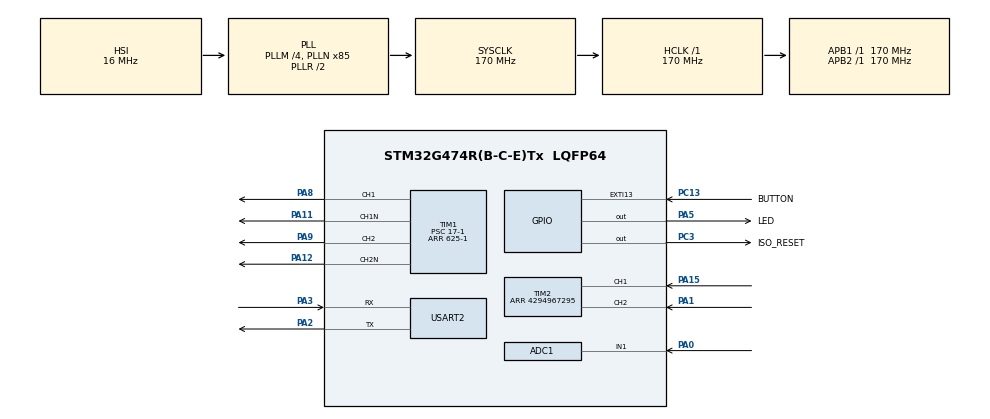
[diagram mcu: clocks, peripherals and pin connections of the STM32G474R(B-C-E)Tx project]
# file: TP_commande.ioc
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ADC1.Channel-0\#ChannelRegularConversion=ADC_CHANNEL_1
ADC1.DMAContinuousRequests=ENABLE
ADC1.ExternalTrigConv=ADC_EXTERNALTRIG_T1_TRGO
ADC1.NbrOfConversion=1
ADC1.NbrOfConversionFlag=1
ADC1.OffsetNumber-0\#ChannelRegularConversion=ADC_OFFSET_NONE
ADC1.Rank-0\#ChannelRegularConversion=1
ADC1.SamplingTime-0\#ChannelRegularConversion=ADC_SAMPLETIME_92CYCLES_5
ADC1.master=1
Dma.ADC1.0.Direction=DMA_PERIPH_TO_MEMORY
Dma.ADC1.0.EventEnable=DISABLE
Dma.ADC1.0.Instance=DMA1_Channel1
Dma.ADC1.0.MemDataAlignment=DMA_MDATAALIGN_HALFWORD
Dma.ADC1.0.MemInc=DMA_MINC_ENABLE
Dma.ADC1.0.Mode=DMA_CIRCULAR
Dma.ADC1.0.PeriphDataAlignment=DMA_PDATAALIGN_HALFWORD
Dma.ADC1.0.PeriphInc=DMA_PINC_DISABLE
Dma.ADC1.0.Polarity=HAL_DMAMUX_REQ_GEN_RISING
Dma.ADC1.0.Priority=DMA_PRIORITY_LOW
Dma.ADC1.0.RequestNumber=1
Dma.ADC1.0.SignalID=NONE
Dma.ADC1.0.SyncEnable=DISABLE
Dma.ADC1.0.SyncPolarity=HAL_DMAMUX_SYNC_NO_EVENT
Dma.ADC1.0.SyncRequestNumber=1
Dma.ADC1.0.SyncSignalID=NONE
Dma.Request0=ADC1
Mcu.Family=STM32G4
Mcu.Name=STM32G474R(B-C-E)Tx
Mcu.Package=LQFP64
NVIC.DMA1_Channel1_IRQn=true\:0\:0\:false\:false\:true\:false\:true\:true
NVIC.EXTI15_10_IRQn=true\:0\:0\:false\:false\:true\:true\:true\:true
NVIC.PriorityGroup=NVIC_PRIORITYGROUP_4
NVIC.TIM1_UP_TIM16_IRQn=true\:0\:0\:false\:false\:true\:true\:true\:true
NVIC.USART2_IRQn=true\:0\:0\:false\:false\:true\:true\:true\:true
PA0.Mode=IN1-Single-Ended
PA0.Signal=ADC1_IN1
PA1.Signal=S_TIM2_CH2
PA11.Mode=PWM Generation1 CH1 CH1N
PA11.Signal=TIM1_CH1N
PA12.Mode=PWM Generation2 CH2 CH2N
PA12.Signal=TIM1_CH2N
PA13.GPIO_Label=T_SWDIO
PA13.Mode=Serial_Wire
PA13.Signal=SYS_JTMS-SWDIO
PA14.GPIO_Label=T_SWCLK
PA14.Mode=Serial_Wire
PA14.Signal=SYS_JTCK-SWCLK
PA15.Signal=S_TIM2_CH1
PA2.Mode=Asynchronous
PA2.Signal=USART2_TX
PA3.Mode=Asynchronous
PA3.Signal=USART2_RX
PA5.GPIO_Label=LED
PA5.PinState=GPIO_PIN_RESET
PA5.Signal=GPIO_Output
PA8.Signal=S_TIM1_CH1
PA9.Signal=S_TIM1_CH2
PC13.GPIO_Label=BUTTON
PC13.Signal=GPXTI13
PC14-OSC32_IN.Mode=LSE-External-Oscillator
PC14-OSC32_IN.Signal=RCC_OSC32_IN
PC15-OSC32_OUT.Mode=LSE-External-Oscillator
PC15-OSC32_OUT.Signal=RCC_OSC32_OUT
PC3.GPIO_Label=ISO_RESET
PC3.Signal=GPIO_Output
PF0-OSC_IN.Mode=HSE-External-Oscillator
PF0-OSC_IN.Signal=RCC_OSC_IN
PF1-OSC_OUT.Mode=HSE-External-Oscillator
PF1-OSC_OUT.Signal=RCC_OSC_OUT
ProjectManager.HeapSize=0x200
ProjectManager.StackSize=0x400
ProjectManager.TargetToolchain=STM32CubeIDE
RCC.ADC12Freq_Value=170000000
RCC.ADC345Freq_Value=170000000
RCC.AHBFreq_Value=170000000
RCC.APB1Freq_Value=170000000
RCC.APB1TimFreq_Value=170000000
RCC.APB2Freq_Value=170000000
RCC.APB2TimFreq_Value=170000000
RCC.CortexFreq_Value=170000000
RCC.EXTERNAL_CLOCK_VALUE=12288000
RCC.HCLKFreq_Value=170000000
RCC.HSE_VALUE=24000000
RCC.HSI48_VALUE=48000000
RCC.HSI_VALUE=16000000
RCC.PLLM=RCC_PLLM_DIV4
RCC.PLLN=85
RCC.RTCClockSelection=RCC_RTCCLKSOURCE_LSE
RCC.SYSCLKFreq_VALUE=170000000
RCC.SYSCLKSource=RCC_SYSCLKSOURCE_PLLCLK
RCC.USBFreq_Value=170000000
RCC.VCOOutputFreq_Value=340000000
SH.S_TIM1_CH1.0=TIM1_CH1,PWM Generation1 CH1 CH1N
SH.S_TIM1_CH2.0=TIM1_CH2,PWM Generation2 CH2 CH2N
SH.S_TIM2_CH1.0=TIM2_CH1,Encoder_Interface
SH.S_TIM2_CH2.0=TIM2_CH2,Encoder_Interface
TIM1.AutoReloadPreload=TIM_AUTORELOAD_PRELOAD_ENABLE
TIM1.Channel-PWM\ Generation1\ CH1\ CH1N=TIM_CHANNEL_1
TIM1.Channel-PWM\ Generation2\ CH2\ CH2N=TIM_CHANNEL_2
TIM1.DeadTime=210
TIM1.DeadTimePreload=DISABLE
TIM1.OC2Preload_PWM=ENABLE
TIM1.OCMode_PWM-PWM\ Generation2\ CH2\ CH2N=TIM_OCMODE_PWM1
TIM1.OCNPolarity_2=TIM_OCNPOLARITY_HIGH
TIM1.OCPolarity_2=TIM_OCPOLARITY_HIGH
TIM1.PeriodNoDither=625-1
TIM1.Prescaler=17-1
TIM1.PulseNoDither_1=300
TIM1.PulseNoDither_2=300
TIM1.TIM_MasterOutputTrigger=TIM_TRGO_UPDATE
TIM1.TIM_MasterSlaveMode=TIM_MASTERSLAVEMODE_ENABLE
TIM2.PeriodNoDither=4294967295
USART2.VirtualMode-Asynchronous=VM_ASYNC
VP_SYS_VS_DBSignals.Mode=DisableDeadBatterySignals
VP_TIM1_VS_ClockSourceINT.Mode=Internal
board=NUCLEO-G474RE

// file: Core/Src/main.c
/* USER CODE BEGIN Header */
/**
 ******************************************************************************
 * @file           : main.c
 * @brief          : Main program body
 ******************************************************************************
 * @attention
 *
 * Copyright (c) 2022 STMicroelectronics.
 * All rights reserved.
 *
 * This software is licensed under terms that can be found in the LICENSE file
 * in the root directory of this software component.
 * If no LICENSE file comes with this software, it is provided AS-IS.
 *
 ******************************************************************************
 */
/* USER CODE END Header */
#include "main.h"
#include "adc.h"
#include "dma.h"
#include "tim.h"
#include "usart.h"
#include "gpio.h"

/* USER CODE BEGIN Includes */
#include "stdio.h"
#include "string.h"
#include "stdlib.h"
/* USER CODE END Includes */

/* USER CODE BEGIN PD */
#define UART_TX_BUFFER_SIZE 64
#define UART_RX_BUFFER_SIZE 1
#define CMD_BUFFER_SIZE 64
#define MAX_ARGS 9
// LF = line feed, saut de ligne
#define ASCII_LF 0x0A
// CR = carriage return, retour chariot
#define ASCII_CR 0x0D
// DEL = delete
#define ASCII_DEL 0x7F
#define ENCOD_MOITIE 4294967295/2
/* USER CODE END PD */

/* USER CODE BEGIN PV */
uint8_t prompt[]="user@Nucleo-STM32G431>>";
uint8_t started[]=
		"\r\n*-----------------------------*"
		"\r\n| Welcome on Nucleo-STM32G431 |"
		"\r\n*-----------------------------*"
		"\r\n";
uint8_t newline[]="\r\n";
uint8_t cmdNotFound[]="Command not found\r\n";
uint32_t uartRxReceived;
uint8_t uartRxBuffer[UART_RX_BUFFER_SIZE];
uint8_t uartTxBuffer[UART_TX_BUFFER_SIZE];
int adcDmaFlag;
int affichage;
uint32_t position;
uint16_t adcBuffer[2];
extern int it_Tim1;
extern int it2_Tim1;
float retour_courant;
/* USER CODE END PV */

void SystemClock_Config(void);

int main(void)
{
  /* USER CODE BEGIN 1 */
#define MAX_ARR 626
#define alpha_50 313
	char	 	cmdBuffer[CMD_BUFFER_SIZE];
	int 		idx_cmd;
	char* 		argv[MAX_ARGS];
	int		 	argc = 0;
	char*		token;
	int 		newCmdReady = 0;
	int speed=0;
	int j=0;
  /* USER CODE END 1 */

  /* MCU Configuration--------------------------------------------------------*/

  /* Reset of all peripherals, Initializes the Flash interface and the Systick. */
  HAL_Init();

  /* Configure the system clock */
  SystemClock_Config();

  /* Initialize all configured peripherals */
  MX_GPIO_Init();
  MX_DMA_Init();
  MX_TIM1_Init();
  MX_USART2_UART_Init();
  MX_ADC1_Init();
  MX_TIM2_Init();
  /* USER CODE BEGIN 2 */
	HAL_ADCEx_Calibration_Start(&hadc1, ADC_SINGLE_ENDED);
	HAL_ADC_Start_DMA(&hadc1, adcBuffer, 2);

	HAL_TIM_Base_Start_IT(&htim1);
	HAL_TIM_PWM_Start(&htim1, TIM_CHANNEL_1);
	HAL_TIMEx_PWMN_Start(&htim1, TIM_CHANNEL_1);
	HAL_TIM_PWM_Start(&htim1, TIM_CHANNEL_2);
	HAL_TIMEx_PWMN_Start(&htim1, TIM_CHANNEL_2);
	HAL_TIM_Encoder_Start(&htim2, TIM_CHANNEL_ALL);

	memset(argv,NULL,MAX_ARGS*sizeof(char*));
	memset(cmdBuffer,NULL,CMD_BUFFER_SIZE*sizeof(char));
	memset(uartRxBuffer,NULL,UART_RX_BUFFER_SIZE*sizeof(char));
	memset(uartTxBuffer,NULL,UART_TX_BUFFER_SIZE*sizeof(char));

	HAL_UART_Receive_IT(&huart2, uartRxBuffer, UART_RX_BUFFER_SIZE);
	HAL_Delay(10);
	HAL_UART_Transmit(&huart2, started, sizeof(started), HAL_MAX_DELAY);
	HAL_UART_Transmit(&huart2, prompt, sizeof(prompt), HAL_MAX_DELAY);

  /* USER CODE END 2 */

  /* Infinite loop */
  /* USER CODE BEGIN WHILE */
	while (1)
	{
		/*TIM1->CCR1=alpha_50+i;
	  TIM1->CCR2=MAX_ARR-(alpha_50+i);
	  HAL_Delay(100);
	  i=i+1;*/

		// uartRxReceived is set to 1 when a new character is received on uart 1
		if(uartRxReceived){
			switch(uartRxBuffer[0]){
			// Nouvelle ligne, instruction à traiter
			case ASCII_CR:
				HAL_UART_Transmit(&huart2, newline, sizeof(newline), HAL_MAX_DELAY);
				cmdBuffer[idx_cmd] = '\0';
				argc = 0;
				token = strtok(cmdBuffer, " ");
				while(token!=NULL){
					argv[argc++] = token;
					token = strtok(NULL, " ");
				}

				idx_cmd = 0;
				newCmdReady = 1;
				break;
				// Suppression du dernier caractère
			case ASCII_DEL:
				cmdBuffer[idx_cmd--] = '\0';
				HAL_UART_Transmit(&huart2, uartRxBuffer, UART_RX_BUFFER_SIZE, HAL_MAX_DELAY);
				break;
				// Nouveau caractère
			default:
				cmdBuffer[idx_cmd++] = uartRxBuffer[0];
				HAL_UART_Transmit(&huart2, uartRxBuffer, UART_RX_BUFFER_SIZE, HAL_MAX_DELAY);
			}
			uartRxReceived = 0;
		}

		if(newCmdReady){
			if(strcmp(argv[0],"help")==0){

				sprintf(uartTxBuffer,"pinout\r\nstart\r\nstop\r\n");
				HAL_UART_Transmit(&huart2, uartTxBuffer, strlen(uartTxBuffer), HAL_MAX_DELAY);
			}
			if(strcmp(argv[0],"pinout")==0){

							sprintf(uartTxBuffer,"PC3=ISO_RESET\r\n");
							HAL_UART_Transmit(&huart2, uartTxBuffer, strlen(uartTxBuffer), HAL_MAX_DELAY);
							sprintf(uartTxBuffer,"PA8/PA11=TIM1_CH1/TIM1_CH1N(pwm)\r\n");
							HAL_UART_Transmit(&huart2, uartTxBuffer, strlen(uartTxBuffer), HAL_MAX_DELAY);
							sprintf(uartTxBuffer,"PA9/PA12=TIM1_CH2/TIM1_CH2N(pwm)\r\n");
							HAL_UART_Transmit(&huart2, uartTxBuffer, strlen(uartTxBuffer), HAL_MAX_DELAY);
							sprintf(uartTxBuffer,"PA2/PA3=USART2_TX/USART2_RX\r\n");
							HAL_UART_Transmit(&huart2, uartTxBuffer, strlen(uartTxBuffer), HAL_MAX_DELAY);
							sprintf(uartTxBuffer,"PA0=ADC1_IN1\r\n");
							HAL_UART_Transmit(&huart2, uartTxBuffer, strlen(uartTxBuffer), HAL_MAX_DELAY);
							sprintf(uartTxBuffer,"PA15/PA1=TIM2_CH1/TIM2_CH2(encodeur)\r\n");
							HAL_UART_Transmit(&huart2, uartTxBuffer, strlen(uartTxBuffer), HAL_MAX_DELAY);
						}

			else if(strcmp(argv[0],"start")==0){

				HAL_GPIO_WritePin(ISO_RESET_GPIO_Port, ISO_RESET_Pin, SET);
				HAL_Delay(100);
				HAL_GPIO_WritePin(ISO_RESET_GPIO_Port, ISO_RESET_Pin, RESET);
				sprintf(uartTxBuffer,"ready\r\n");
				HAL_UART_Transmit(&huart2, uartTxBuffer, strlen(uartTxBuffer), HAL_MAX_DELAY);
			}
			else if(strcmp(argv[0],"speed=")==0){
				speed=atoi(argv[1]);
				if (speed<0){speed=0;}
				if (speed>100){speed=100;}

				j=(MAX_ARR*speed)/100;
				TIM1->CCR1=j;
				TIM1->CCR2=(MAX_ARR-j);
				sprintf(uartTxBuffer,"i : %d\r\n",atoi(argv[1]));
				HAL_UART_Transmit(&huart2, uartTxBuffer, strlen(uartTxBuffer), HAL_MAX_DELAY);

			}

			else{
				HAL_UART_Transmit(&huart2, cmdNotFound, sizeof(cmdNotFound), HAL_MAX_DELAY);
			}
			HAL_UART_Transmit(&huart2, prompt, sizeof(prompt), HAL_MAX_DELAY);
			newCmdReady = 0;
		}

		if(adcDmaFlag &&  affichage==1 && it2_Tim1){
			//retour_courant=(((((float)adcBuffer[0])*(3.3/4095))-2.25)*12);
			sprintf(uartTxBuffer,"ADC Value1: %1.2f\r\n",retour_courant);
			HAL_UART_Transmit(&huart2, uartTxBuffer, strlen(uartTxBuffer), HAL_MAX_DELAY);
			adcDmaFlag=0;
			it2_Tim1=0;
		}

		if(it_Tim1 &&  affichage==2){
		position=TIM2->CNT;
		position= position-ENCOD_MOITIE;
		TIM2->CNT=ENCOD_MOITIE;
		sprintf(uartTxBuffer,"vitesse : %.1f tr/min\r\n",((float)position*0.03));
		HAL_UART_Transmit(&huart2, uartTxBuffer, strlen(uartTxBuffer), HAL_MAX_DELAY);
		it_Tim1=0;
		}
    /* USER CODE END WHILE */

	}
}

void SystemClock_Config(void)
{
  RCC_OscInitTypeDef RCC_OscInitStruct = {0};
  RCC_ClkInitTypeDef RCC_ClkInitStruct = {0};

  /** Configure the main internal regulator output voltage
  */
  HAL_PWREx_ControlVoltageScaling(PWR_REGULATOR_VOLTAGE_SCALE1_BOOST);

  /** Initializes the RCC Oscillators according to the specified parameters
  * in the RCC_OscInitTypeDef structure.
  */
  RCC_OscInitStruct.OscillatorType = RCC_OSCILLATORTYPE_HSI;
  RCC_OscInitStruct.HSIState = RCC_HSI_ON;
  RCC_OscInitStruct.HSICalibrationValue = RCC_HSICALIBRATION_DEFAULT;
  RCC_OscInitStruct.PLL.PLLState = RCC_PLL_ON;
  RCC_OscInitStruct.PLL.PLLSource = RCC_PLLSOURCE_HSI;
  RCC_OscInitStruct.PLL.PLLM = RCC_PLLM_DIV4;
  RCC_OscInitStruct.PLL.PLLN = 85;
  RCC_OscInitStruct.PLL.PLLP = RCC_PLLP_DIV2;
  RCC_OscInitStruct.PLL.PLLQ = RCC_PLLQ_DIV2;
  RCC_OscInitStruct.PLL.PLLR = RCC_PLLR_DIV2;
  if (HAL_RCC_OscConfig(&RCC_OscInitStruct) != HAL_OK)
  {
    Error_Handler();
  }

  /** Initializes the CPU, AHB and APB buses clocks
  */
  RCC_ClkInitStruct.ClockType = RCC_CLOCKTYPE_HCLK|RCC_CLOCKTYPE_SYSCLK
                              |RCC_CLOCKTYPE_PCLK1|RCC_CLOCKTYPE_PCLK2;
  RCC_ClkInitStruct.SYSCLKSource = RCC_SYSCLKSOURCE_PLLCLK;
  RCC_ClkInitStruct.AHBCLKDivider = RCC_SYSCLK_DIV1;
  RCC_ClkInitStruct.APB1CLKDivider = RCC_HCLK_DIV1;
  RCC_ClkInitStruct.APB2CLKDivider = RCC_HCLK_DIV1;

  if (HAL_RCC_ClockConfig(&RCC_ClkInitStruct, FLASH_LATENCY_4) != HAL_OK)
  {
    Error_Handler();
  }
}

/* USER CODE BEGIN 4 */
void HAL_UART_RxCpltCallback (UART_HandleTypeDef * huart){
	uartRxReceived = 1;
	HAL_UART_Receive_IT(&huart2, uartRxBuffer, UART_RX_BUFFER_SIZE);
}
/**
  * @brief  Cette fonction permet d'effectuer une mesure de courant en utilisant la fonction
  * Callback de l'ADC
  * @retval none
  */

void HAL_ADC_ConvCpltCallback(ADC_HandleTypeDef *hadc)
{
	adcDmaFlag=1;
	retour_courant=(((((float)adcBuffer[0])*(3.3/4095))-2.25)*12);
}
/**
  * @brief  Cette fonction permet de gérer l'affichage des variables
  * grâce à un appui sur le bouton bleu.
  * @retval none
  */
void HAL_GPIO_EXTI_Callback(uint16_t GPIO_Pin)
{
	if(GPIO_Pin == BUTTON_Pin) {
	    affichage=(affichage+1)%3;
	  }
}

/* USER CODE END 4 */

void Error_Handler(void)
{
	__disable_irq();
	while (1)
	{
	}
}
